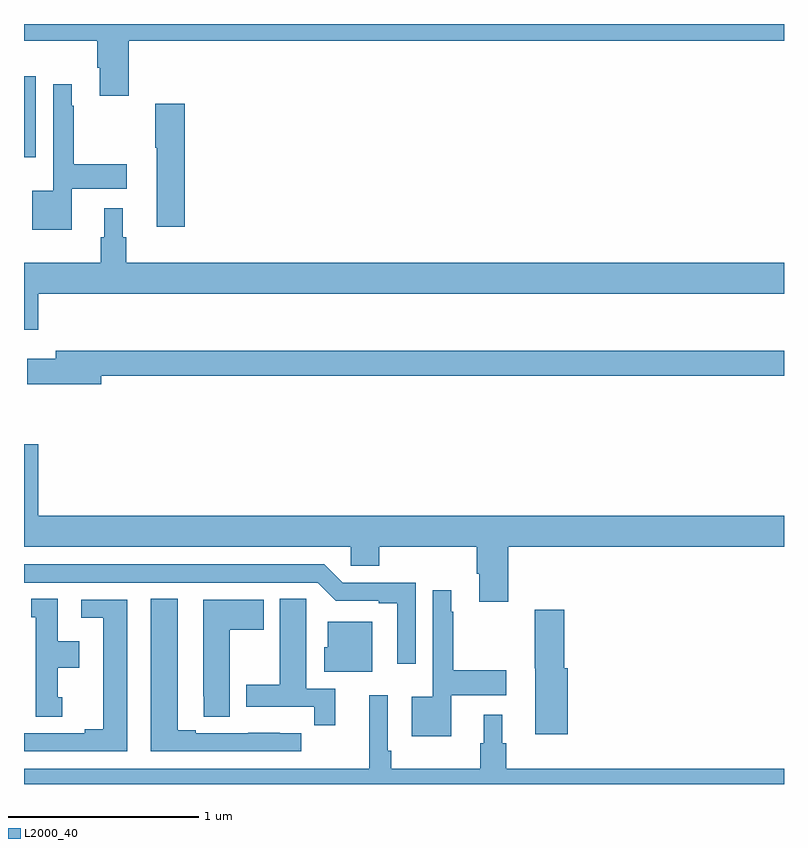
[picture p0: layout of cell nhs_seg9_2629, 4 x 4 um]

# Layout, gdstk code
import gdstk
lib = gdstk.Library(unit=1e-6, precision=1e-09)
def R(c, l, rs):  # rectangles x0, y0, x1, y1
    for r in rs: c.add(gdstk.rectangle(r[:2], r[2:], *l))
def P(c, l, *ps):  # polygons
    for p in ps: c.add(gdstk.Polygon(p, *l))
L2000_40 = (2000, 40)

nhs_seg9_2629 = lib.new_cell('nhs_seg9_2629')
R(nhs_seg9_2629, L2000_40, [(261,1203.798,261.063,1204.224)])
P(nhs_seg9_2629, L2000_40, [(261.551,1204.412),(265,1204.412),(265,1204.5),(261,1204.5),(261,1204.412),(261.386,1204.412),(261.386,1204.27),(261.398,1204.27),(261.398,1204.122),(261.551,1204.122)],
  [(261.25,1203.632),(261.541,1203.632),(261.541,1203.762),(261.262,1203.762),(261.262,1204.07),(261.25,1204.07),(261.25,1204.183),(261.153,1204.183),(261.153,1203.622),(261.044,1203.622),(261.044,1203.416),(261.25,1203.416)],
  [(261.845,1204.081),(261.691,1204.081),(261.691,1203.85),(261.698,1203.85),(261.698,1203.432),(261.845,1203.432)],
  [(261.076,1203.08),(265,1203.08),(265,1203.244),(261.539,1203.244),(261.539,1203.378),(261.52,1203.378),(261.52,1203.529),(261.422,1203.529),(261.422,1203.378),(261.403,1203.378),(261.403,1203.244),(261,1203.244),(261,1202.892),(261.076,1202.892)],
  [(261.406,1202.65),(265,1202.65),(265,1202.779),(261.167,1202.779),(261.167,1202.737),(261.018,1202.737),(261.018,1202.603),(261.406,1202.603)],
  [(263.549,1201.748),(265,1201.748),(265,1201.912),(261.076,1201.912),(261.076,1202.287),(261,1202.287),(261,1201.748),(262.719,1201.748),(262.719,1201.65),(262.871,1201.65),(262.871,1201.748),(263.384,1201.748),(263.384,1201.606),(263.396,1201.606),(263.396,1201.458),(263.549,1201.458)],
  [(263.061,1201.56),(262.677,1201.56),(262.581,1201.656),(261,1201.656),(261,1201.56),(262.545,1201.56),(262.641,1201.464),(262.868,1201.464),(262.868,1201.452),(262.964,1201.452),(262.964,1201.134),(263.061,1201.134)],
  [(263.248,1200.968),(263.539,1200.968),(263.539,1201.098),(263.26,1201.098),(263.26,1201.406),(263.248,1201.406),(263.248,1201.519),(263.151,1201.519),(263.151,1200.958),(263.042,1200.958),(263.042,1200.752),(263.248,1200.752)],
  [(262.637,1201.002),(262.486,1201.002),(262.486,1201.364),(262.485,1201.364),(262.485,1201.475),(262.346,1201.475),(262.346,1201.023),(262.169,1201.023),(262.169,1200.906),(262.528,1200.906),(262.528,1200.81),(262.637,1200.81)],
  [(262.459,1200.768),(262.346,1200.768),(262.346,1200.769),(262.18,1200.769),(262.18,1200.768),(261.904,1200.768),(261.904,1200.783),(261.808,1200.783),(261.808,1201.475),(261.668,1201.475),(261.668,1200.672),(262.459,1200.672)],
  [(261.202,1200.957),(261.178,1200.957),(261.178,1201.112),(261.292,1201.112),(261.292,1201.252),(261.178,1201.252),(261.178,1201.475),(261.038,1201.475),(261.038,1201.377),(261.062,1201.377),(261.062,1200.855),(261.202,1200.855)],
  [(262.084,1201.312),(262.261,1201.312),(262.261,1201.471),(261.944,1201.471),(261.944,1200.961),(261.945,1200.961),(261.945,1200.853),(262.084,1200.853)],
  [(261.544,1201.47),(261.3,1201.47),(261.3,1201.374),(261.416,1201.374),(261.416,1200.788),(261.32,1200.788),(261.32,1200.768),(261,1200.768),(261,1200.672),(261.544,1200.672)],
  [(263.861,1201.11),(263.843,1201.11),(263.843,1201.417),(263.689,1201.417),(263.689,1201.11),(263.69,1201.11),(263.69,1200.762),(263.861,1200.762)],
  [(262.834,1201.354),(262.598,1201.354),(262.598,1201.221),(262.58,1201.221),(262.58,1201.091),(262.834,1201.091)],
  [(265,1200.58),(263.537,1200.58),(263.537,1200.714),(263.518,1200.714),(263.518,1200.865),(263.42,1200.865),(263.42,1200.714),(263.401,1200.714),(263.401,1200.58),(262.934,1200.58),(262.934,1200.676),(262.914,1200.676),(262.914,1200.967),(262.817,1200.967),(262.817,1200.58),(261,1200.58),(261,1200.5),(265,1200.5)])

lib.write_gds('nhs_seg9_2629.gds')
